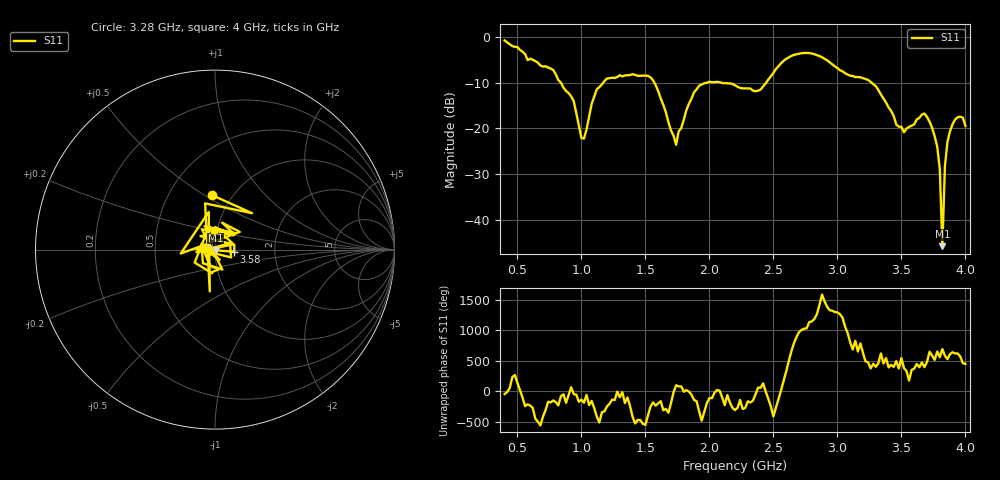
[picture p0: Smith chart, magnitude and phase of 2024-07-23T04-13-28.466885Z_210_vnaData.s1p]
!Created with skrf (http://scikit-rf.org).
# Hz S RI R 50.0
!freq ReS11 ImS11
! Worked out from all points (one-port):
!   181 points, 400 MHz to 4 GHz, reference 50 ohm
!   lowest |S11| = -45.7 dB at 3.82 GHz (marker M1), VSWR 1.01, Z = 50.5 - j0.223 ohm
!   |S11| at or under -10 dB: 1.57 GHz to 1.98 GHz (410.7 MHz wide, 23.1 % of centre); 2.093 GHz to 2.443 GHz (350.8 MHz wide, 15.5 % of centre); 3.267 GHz to end of sweep (the widest 3 of 4)
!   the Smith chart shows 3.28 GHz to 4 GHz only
!   S11 on the Smith chart (normalised r, x): 3.28 GHz: 0.80, +0.54; 3.58 GHz: 1.24, -0.03; 4 GHz: 0.97, +0.21
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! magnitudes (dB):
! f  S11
! 400 MHz  -0.8
! 780 MHz  -7.2
! 860 MHz  -11.1
! 940 MHz  -14.0
! 1 GHz  -22.1
! 1.02 GHz  -22.2
! 1.12 GHz  -11.5
! 1.3 GHz  -8.4
! 1.54 GHz  -8.8
! 1.74 GHz  -23.6
! 1.76 GHz  -20.6
! 1.92 GHz  -10.7
! 2.2 GHz  -10.6
! 2.4 GHz  -11.5
! 2.66 GHz  -3.9
! 3.1 GHz  -8.5
! 3.28 GHz  -10.3
! 3.46 GHz  -19.1
! 3.56 GHz  -19.7
! 3.58 GHz  -19.4
! 3.68 GHz  -16.7
! 3.76 GHz  -21.7
! 3.8 GHz  -28.8
! 3.82 GHz  -45.7
! 3.84 GHz  -28.2
! 3.86 GHz  -22.9
! 3.94 GHz  -17.5
! 4 GHz  -19.4
